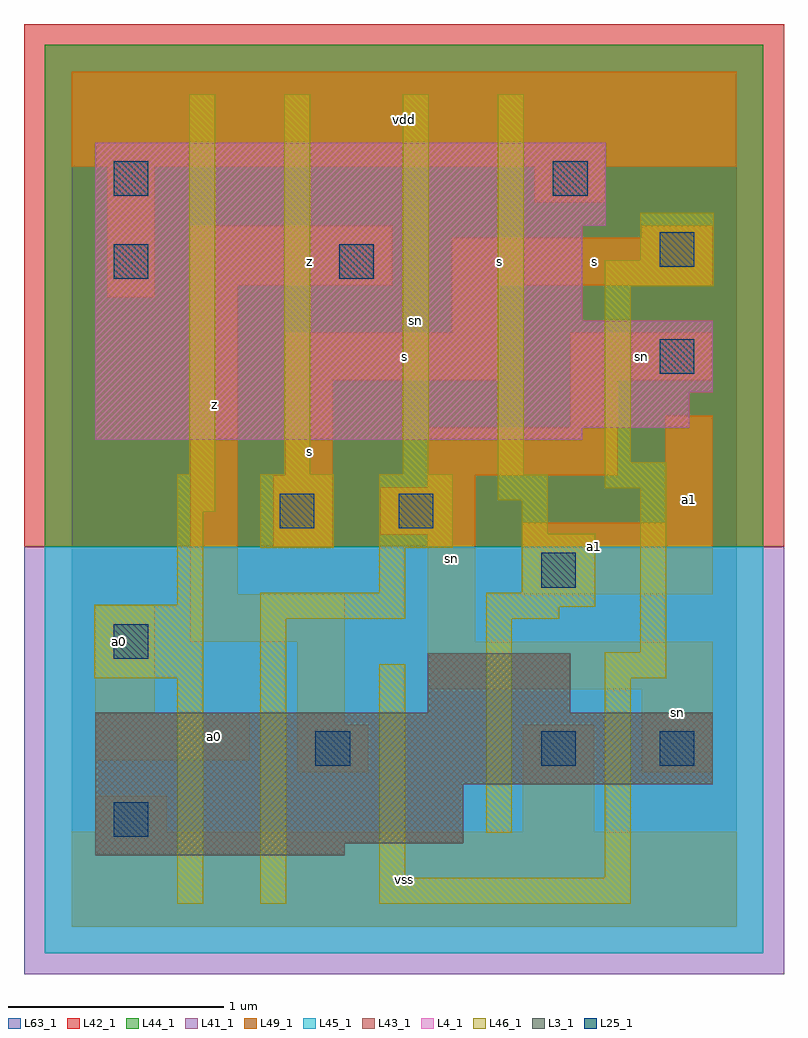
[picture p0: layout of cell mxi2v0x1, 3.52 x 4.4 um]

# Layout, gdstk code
import gdstk
lib = gdstk.Library(unit=1e-6, precision=1e-09)
def R(c, l, rs):  # rectangles x0, y0, x1, y1
    for r in rs: c.add(gdstk.rectangle(r[:2], r[2:], *l))
L3_1 = (3, 1)
L4_1 = (4, 1)
L25_1 = (25, 1)
L41_1 = (41, 1)
L42_1 = (42, 1)
L43_1 = (43, 1)
L44_1 = (44, 1)
L45_1 = (45, 1)
L46_1 = (46, 1)
L49_1 = (49, 1)
L63_1 = (63, 1)

mxi2v0x1 = lib.new_cell('mxi2v0x1')
R(mxi2v0x1, L3_1, [(0.11,0.33,1.265,0.385), (0.11,0.385,1.815,0.66), (0.11,0.66,2.97,0.99), (1.65,0.99,2.31,1.265)])
R(mxi2v0x1, L4_1, [(0.11,2.255,2.365,2.31), (0.11,2.31,2.86,2.475), (0.11,2.475,2.97,2.805), (0.11,2.805,2.365,3.245), (0.11,3.245,2.475,3.63)])
R(mxi2v0x1, L25_1, [(0.195,0.415,0.355,0.575), (1.13,0.745,1.29,0.905), (2.175,0.745,2.335,0.905), (2.725,0.745,2.885,0.905), (0.195,1.24,0.355,1.4), (2.175,1.57,2.335,1.73), (0.965,1.845,1.125,2.005), (1.515,1.845,1.675,2.005), (2.725,2.56,2.885,2.72), (0.195,3,0.355,3.16), (1.24,3,1.4,3.16), (2.725,3.055,2.885,3.215), (0.195,3.385,0.355,3.545), (2.23,3.385,2.39,3.545)])
R(mxi2v0x1, L41_1, [(-0.22,-0.22,3.3,1.76)])
R(mxi2v0x1, L42_1, [(-0.22,1.76,3.3,4.18)])
R(mxi2v0x1, L43_1, [(0.11,0.33,1.265,0.385), (0.11,0.385,1.815,0.66), (0.11,0.66,2.97,0.99), (1.65,0.99,2.31,1.265), (0.11,2.255,2.365,2.31), (0.11,2.31,2.86,2.475), (0.11,2.475,2.97,2.805), (0.11,2.805,2.365,3.245), (0.11,3.245,2.475,3.63)])
R(mxi2v0x1, L44_1, [(-0.125,1.76,3.205,4.085)])
R(mxi2v0x1, L45_1, [(-0.125,-0.125,3.205,1.76)])
R(mxi2v0x1, L46_1, [(0.49,0.105,0.61,1.15), (0.875,0.105,0.995,1.425), (1.425,0.105,2.59,0.225), (1.425,0.225,1.545,1.215), (2.47,0.225,2.59,1.15), (1.92,0.435,2.04,1.425), (0.105,1.15,0.61,1.49), (2.47,1.15,2.755,1.27), (2.635,1.27,2.755,2.03), (0.875,1.425,1.545,1.545), (1.92,1.425,2.26,1.48), (1.92,1.48,2.425,1.545), (0.49,1.49,0.61,1.92), (1.425,1.545,1.545,1.755), (2.085,1.545,2.425,1.82), (0.875,1.755,1.215,2.095), (1.425,1.755,1.765,2.095), (2.085,1.82,2.205,1.975), (0.49,1.92,0.665,2.095), (1.975,1.975,2.205,2.095), (2.47,2.03,2.755,2.15), (0.545,2.095,0.665,3.855), (0.985,2.095,1.105,3.855), (1.535,2.095,1.655,3.855), (1.975,2.095,2.095,3.855), (2.47,2.15,2.59,2.965), (2.47,2.965,2.975,3.085), (2.635,3.085,2.975,3.305)])
R(mxi2v0x1, L49_1, [(0,0,3.08,0.44), (0.11,0.44,0.44,0.605), (2.09,0.44,2.42,0.935), (1.045,0.715,1.375,0.935), (2.64,0.715,2.97,1.1), (0.11,0.77,0.825,0.99), (1.045,0.935,1.265,1.32), (0.11,0.99,0.385,1.485), (1.65,1.1,2.97,1.32), (0.55,1.32,1.265,1.54), (1.65,1.32,1.87,1.815), (0.55,1.54,0.77,2.97), (2.09,1.54,2.97,1.87), (0.935,1.76,1.21,2.09), (1.43,1.815,1.87,2.035), (2.75,1.87,2.97,2.365), (1.65,2.035,1.87,2.09), (0.99,2.09,1.21,2.53), (1.65,2.09,2.53,2.31), (2.31,2.31,2.53,2.53), (0.99,2.53,1.98,2.75), (2.31,2.53,2.97,2.75), (1.76,2.75,1.98,2.97), (0.165,2.915,0.385,3.52), (0.55,2.97,1.485,3.245), (1.76,2.97,2.97,3.19), (2.64,3.19,2.97,3.245), (2.145,3.355,2.475,3.52), (0,3.52,3.08,3.96)])
R(mxi2v0x1, L63_1, [(0,0,3.08,3.96)])
mxi2v0x1.add(gdstk.Label('sn', (1.595,2.805), layer=46, texttype=1))
mxi2v0x1.add(gdstk.Label('a0', (0.22,1.32), layer=49, texttype=1))
mxi2v0x1.add(gdstk.Label('a0', (0.66,0.88), layer=49, texttype=1))
mxi2v0x1.add(gdstk.Label('s', (1.1,2.2), layer=49, texttype=1))
mxi2v0x1.add(gdstk.Label('z', (0.66,2.42), layer=49, texttype=1))
mxi2v0x1.add(gdstk.Label('z', (1.1,3.08), layer=49, texttype=1))
mxi2v0x1.add(gdstk.Label('vss', (1.54,0.22), layer=49, texttype=1))
mxi2v0x1.add(gdstk.Label('sn', (1.76,1.705), layer=49, texttype=1))
mxi2v0x1.add(gdstk.Label('s', (1.54,2.64), layer=49, texttype=1))
mxi2v0x1.add(gdstk.Label('s', (1.98,3.08), layer=49, texttype=1))
mxi2v0x1.add(gdstk.Label('vdd', (1.54,3.74), layer=49, texttype=1))
mxi2v0x1.add(gdstk.Label('sn', (2.805,0.99), layer=49, texttype=1))
mxi2v0x1.add(gdstk.Label('a1', (2.42,1.76), layer=49, texttype=1))
mxi2v0x1.add(gdstk.Label('a1', (2.86,1.98), layer=49, texttype=1))
mxi2v0x1.add(gdstk.Label('sn', (2.64,2.64), layer=49, texttype=1))
mxi2v0x1.add(gdstk.Label('s', (2.42,3.08), layer=49, texttype=1))

lib.write_gds('mxi2v0x1.gds')
